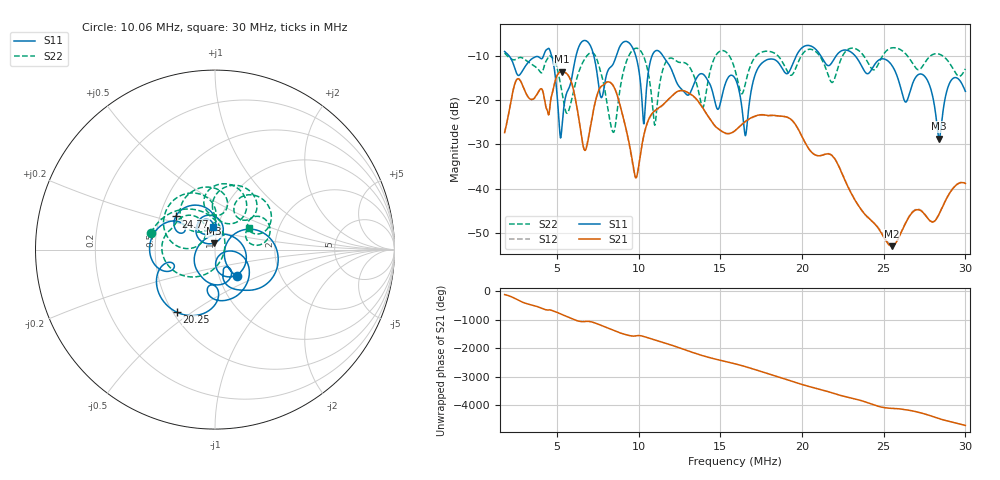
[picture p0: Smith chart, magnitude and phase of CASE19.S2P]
!Agilent Technologies,E5061B,MY49101568,A.02.00
!Date: Wed Mar 01 13:22:49 2023
!Data & Calibration Information:
!Freq	S11:SOLT2(OFF)	S21:SOLT2(OFF)	S12:SOLT2(OFF)	S22:SOLT2(OFF)
# Hz S dB R 50
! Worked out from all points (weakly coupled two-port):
!   1155 points, 1.8 MHz to 30 MHz, reference 50 ohm
!   highest |S21| = -13.63 dB at 5.294 MHz (marker M1); lowest = -52.9 dB at 25.5 MHz (marker M2)
!   lowest |S11| = -28.7 dB at 28.39 MHz (marker M3), VSWR 1.08, Z = 49.1 + j3.53 ohm
!   |S11| at or under -10 dB: 2.058 MHz to 4.187 MHz (2.129 MHz wide, 68.2 % of centre); 11.47 MHz to 19.66 MHz (8.187 MHz wide, 52.6 % of centre); 23.24 MHz to end of sweep (the widest 3 of 7)
!   |S22| runs from -27.3 to -8.2 dB; largest |S21 - S12| = 0.0032
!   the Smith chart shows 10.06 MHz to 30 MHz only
!   S11 on the Smith chart (normalised r, x): 10.06 MHz: 1.21, -0.37; 20.25 MHz: 0.52, -0.44; 24.77 MHz: 0.60, +0.24; 30 MHz: 0.95, +0.24
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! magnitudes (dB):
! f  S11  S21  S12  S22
! 1.8 MHz  -9.1  -27.3  -27.3  -9.4
! 2.606 MHz  -14.4  -15.2  -15.2  -10.6
! 4.537 MHz  -8.5  -22.7  -22.7  -10.0
! 5.294 MHz  -26.7  -13.6  -13.6  -17.9
! 6.516 MHz  -7.0  -28.4  -28.4  -12.1
! 7.714 MHz  -19.5  -16.9  -16.9  -14.2
! 8.447 MHz  -11.9  -16.8  -16.7  -27.3
! 10.06 MHz  -14.4  -33.5  -33.4  -8.7
! 10.33 MHz  -25.4  -27.8  -27.9  -10.4
! 11.21 MHz  -8.9  -21.9  -22.0  -18.6
! 14.82 MHz  -22.1  -26.3  -26.4  -9.5
! 15.9 MHz  -15.1  -26.9  -27.0  -13.2
! 16.54 MHz  -28.0  -24.8  -24.9  -16.3
! 17.42 MHz  -12.2  -23.4  -23.5  -9.4
! 20.25 MHz  -7.8  -30.0  -30.0  -8.9
! 20.62 MHz  -8.0  -31.9  -31.9  -8.7
! 24.77 MHz  -10.9  -49.5  -49.2  -11.2
! 25.31 MHz  -11.4  -52.6  -52.3  -8.6
! 25.5 MHz  -12.2  -52.9  -52.7  -8.3
! 27.58 MHz  -15.0  -46.1  -46.0  -11.3
! 28.39 MHz  -28.7  -45.7  -45.7  -9.7
! 30 MHz  -18.1  -38.8  -38.7  -13.0
